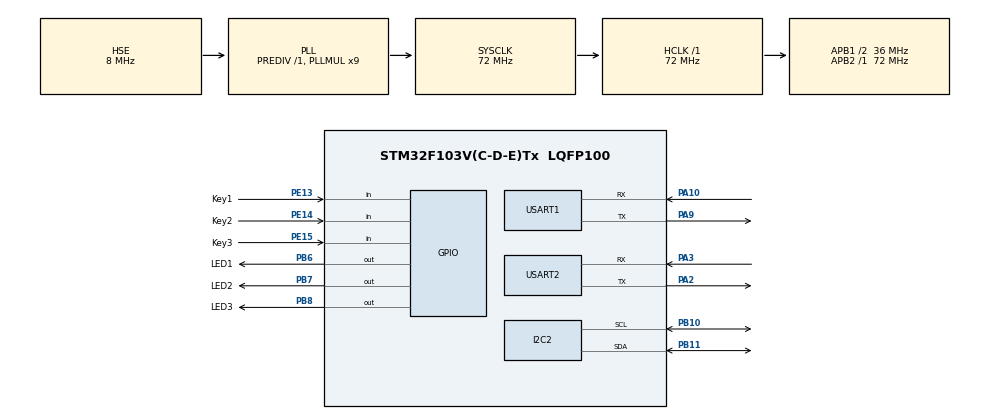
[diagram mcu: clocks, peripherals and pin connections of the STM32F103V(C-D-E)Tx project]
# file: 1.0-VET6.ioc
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Dma.I2C2_TX.0.Direction=DMA_MEMORY_TO_PERIPH
Dma.I2C2_TX.0.Instance=DMA1_Channel4
Dma.I2C2_TX.0.MemDataAlignment=DMA_MDATAALIGN_BYTE
Dma.I2C2_TX.0.MemInc=DMA_MINC_ENABLE
Dma.I2C2_TX.0.Mode=DMA_NORMAL
Dma.I2C2_TX.0.PeriphDataAlignment=DMA_PDATAALIGN_BYTE
Dma.I2C2_TX.0.PeriphInc=DMA_PINC_DISABLE
Dma.I2C2_TX.0.Priority=DMA_PRIORITY_MEDIUM
Dma.Request0=I2C2_TX
Dma.Request1=USART1_RX
Dma.Request2=USART2_RX
Dma.USART1_RX.1.Direction=DMA_PERIPH_TO_MEMORY
Dma.USART1_RX.1.Instance=DMA1_Channel5
Dma.USART1_RX.1.MemDataAlignment=DMA_MDATAALIGN_BYTE
Dma.USART1_RX.1.MemInc=DMA_MINC_ENABLE
Dma.USART1_RX.1.Mode=DMA_NORMAL
Dma.USART1_RX.1.PeriphDataAlignment=DMA_PDATAALIGN_BYTE
Dma.USART1_RX.1.PeriphInc=DMA_PINC_DISABLE
Dma.USART1_RX.1.Priority=DMA_PRIORITY_MEDIUM
Dma.USART2_RX.2.Direction=DMA_PERIPH_TO_MEMORY
Dma.USART2_RX.2.Instance=DMA1_Channel6
Dma.USART2_RX.2.MemDataAlignment=DMA_MDATAALIGN_BYTE
Dma.USART2_RX.2.MemInc=DMA_MINC_ENABLE
Dma.USART2_RX.2.Mode=DMA_NORMAL
Dma.USART2_RX.2.PeriphDataAlignment=DMA_PDATAALIGN_BYTE
Dma.USART2_RX.2.PeriphInc=DMA_PINC_DISABLE
Dma.USART2_RX.2.Priority=DMA_PRIORITY_MEDIUM
I2C2.DutyCycle=I2C_DUTYCYCLE_2
I2C2.I2C_Mode=I2C_Fast
Mcu.Family=STM32F1
Mcu.Name=STM32F103V(C-D-E)Tx
Mcu.Package=LQFP100
NVIC.DMA1_Channel4_IRQn=true\:0\:0\:true\:false\:true\:false\:true\:true
NVIC.DMA1_Channel5_IRQn=true\:0\:0\:false\:false\:true\:false\:true\:true
NVIC.DMA1_Channel6_IRQn=true\:0\:0\:false\:false\:true\:false\:true\:true
NVIC.I2C2_ER_IRQn=true\:0\:0\:false\:false\:true\:true\:true\:true
NVIC.I2C2_EV_IRQn=true\:0\:0\:false\:false\:true\:true\:true\:true
NVIC.PriorityGroup=NVIC_PRIORITYGROUP_4
NVIC.TIM2_IRQn=true\:1\:0\:true\:false\:true\:true\:true\:true
NVIC.USART1_IRQn=true\:0\:0\:false\:false\:true\:true\:true\:true
NVIC.USART2_IRQn=true\:0\:0\:false\:false\:true\:true\:true\:true
OSC_IN.Mode=HSE-External-Oscillator
OSC_IN.Signal=RCC_OSC_IN
OSC_OUT.Mode=HSE-External-Oscillator
OSC_OUT.Signal=RCC_OSC_OUT
PA10.Mode=Asynchronous
PA10.Signal=USART1_RX
PA13.Mode=Serial_Wire
PA13.Signal=SYS_JTMS-SWDIO
PA14.Mode=Serial_Wire
PA14.Signal=SYS_JTCK-SWCLK
PA2.Mode=Asynchronous
PA2.Signal=USART2_TX
PA3.Mode=Asynchronous
PA3.Signal=USART2_RX
PA9.Mode=Asynchronous
PA9.Signal=USART1_TX
PB10.Mode=I2C
PB10.Signal=I2C2_SCL
PB11.Mode=I2C
PB11.Signal=I2C2_SDA
PB6.GPIO_Label=LED1
PB6.GPIO_Speed=GPIO_SPEED_FREQ_HIGH
PB6.Signal=GPIO_Output
PB7.GPIO_Label=LED2
PB7.GPIO_Speed=GPIO_SPEED_FREQ_HIGH
PB7.Signal=GPIO_Output
PB8.GPIO_Label=LED3
PB8.GPIO_Speed=GPIO_SPEED_FREQ_HIGH
PB8.Signal=GPIO_Output
PC14-OSC32_IN.Mode=LSE-External-Oscillator
PC14-OSC32_IN.Signal=RCC_OSC32_IN
PC15-OSC32_OUT.Mode=LSE-External-Oscillator
PC15-OSC32_OUT.Signal=RCC_OSC32_OUT
PE13.GPIO_Label=Key1
PE13.GPIO_PuPd=GPIO_PULLUP
PE13.Signal=GPIO_Input
PE14.GPIO_Label=Key2
PE14.GPIO_PuPd=GPIO_PULLUP
PE14.Signal=GPIO_Input
PE15.GPIO_Label=Key3
PE15.GPIO_PuPd=GPIO_PULLUP
PE15.Signal=GPIO_Input
ProjectManager.HeapSize=0x200
ProjectManager.StackSize=0x400
ProjectManager.TargetToolchain=MDK-ARM V5.32
RCC.AHBFreq_Value=72000000
RCC.APB1CLKDivider=RCC_HCLK_DIV2
RCC.APB1Freq_Value=36000000
RCC.APB1TimFreq_Value=72000000
RCC.APB2Freq_Value=72000000
RCC.APB2TimFreq_Value=72000000
RCC.HCLKFreq_Value=72000000
RCC.PLLMUL=RCC_PLL_MUL9
RCC.PLLSourceVirtual=RCC_PLLSOURCE_HSE
RCC.SYSCLKFreq_VALUE=72000000
RCC.SYSCLKSource=RCC_SYSCLKSOURCE_PLLCLK
RCC.USBFreq_Value=72000000
TIM2.Period=1000-1
TIM2.Prescaler=72-1
USART1.VirtualMode=VM_ASYNC
USART2.VirtualMode=VM_ASYNC
VP_TIM2_VS_ClockSourceINT.Mode=Internal
board=custom

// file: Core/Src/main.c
/* USER CODE BEGIN Header */
/**
 ******************************************************************************
 * @file           : main.c
 * @brief          : Main program body
 ******************************************************************************
 * @attention
 *
 * Copyright (c) 2026 STMicroelectronics.
 * All rights reserved.
 *
 * This software is licensed under terms that can be found in the LICENSE file
 * in the root directory of this software component.
 * If no LICENSE file comes with this software, it is provided AS-IS.
 *
 ******************************************************************************
 */
/* USER CODE END Header */
#include "main.h"
#include "dma.h"
#include "i2c.h"
#include "tim.h"
#include "usart.h"
#include "gpio.h"

/* USER CODE BEGIN Includes */
#include <string.h>
#include "OLED.h"
#include "math.h"
#include "KEY.h"
#include "my_uart.h"
/* USER CODE END Includes */

void SystemClock_Config(void);

int main(void)
{

  /* MCU Configuration--------------------------------------------------------*/

  /* Reset of all peripherals, Initializes the Flash interface and the Systick. */
  HAL_Init();

  /* Configure the system clock */
  SystemClock_Config();

  /* Initialize all configured peripherals */
  MX_GPIO_Init();
  MX_DMA_Init();
  MX_USART1_UART_Init();
  MX_I2C2_Init();
  MX_TIM2_Init();
  MX_USART2_UART_Init();
  /* USER CODE BEGIN 2 */
  USART_Data *my_uart1 = (USART_Data *)malloc(sizeof(USART_Data)); // 杜绝野指针
  memset(my_uart1, 0, sizeof(USART_Data));
  HAL_TIM_Base_Start_IT(&htim2);
  USART_DataTypeInit(my_uart1, &huart1, 128, DMA_MODE, NULL);
  OLED_Init();
  OLED_Clear();
  OLED_Update();
  /* USER CODE END 2 */

  /* Infinite loop */
  while (1)
  {

    /* USER CODE BEGIN 3 */
    if (USART_DataIsReceived(my_uart1))
    {
      uint8_t *data = uartDataProcessLock(my_uart1);
      uint16_t size = USART_DataGetReceivedLen(my_uart1);

      data[size] = '\0';
      OLED_Clear();
      OLED_ShowString(8, 8, (char *)data, 6);
      OLED_Update();

      uartDataProcessUnlock(my_uart1);
    }
  }
  /* USER CODE END 3 */
}

void SystemClock_Config(void)
{
  RCC_OscInitTypeDef RCC_OscInitStruct = {0};
  RCC_ClkInitTypeDef RCC_ClkInitStruct = {0};

  /** Initializes the RCC Oscillators according to the specified parameters
   * in the RCC_OscInitTypeDef structure.
   */
  RCC_OscInitStruct.OscillatorType = RCC_OSCILLATORTYPE_HSE;
  RCC_OscInitStruct.HSEState = RCC_HSE_ON;
  RCC_OscInitStruct.HSEPredivValue = RCC_HSE_PREDIV_DIV1;
  RCC_OscInitStruct.HSIState = RCC_HSI_ON;
  RCC_OscInitStruct.PLL.PLLState = RCC_PLL_ON;
  RCC_OscInitStruct.PLL.PLLSource = RCC_PLLSOURCE_HSE;
  RCC_OscInitStruct.PLL.PLLMUL = RCC_PLL_MUL9;
  if (HAL_RCC_OscConfig(&RCC_OscInitStruct) != HAL_OK)
  {
    Error_Handler();
  }

  /** Initializes the CPU, AHB and APB buses clocks
   */
  RCC_ClkInitStruct.ClockType = RCC_CLOCKTYPE_HCLK | RCC_CLOCKTYPE_SYSCLK | RCC_CLOCKTYPE_PCLK1 | RCC_CLOCKTYPE_PCLK2;
  RCC_ClkInitStruct.SYSCLKSource = RCC_SYSCLKSOURCE_PLLCLK;
  RCC_ClkInitStruct.AHBCLKDivider = RCC_SYSCLK_DIV1;
  RCC_ClkInitStruct.APB1CLKDivider = RCC_HCLK_DIV2;
  RCC_ClkInitStruct.APB2CLKDivider = RCC_HCLK_DIV1;

  if (HAL_RCC_ClockConfig(&RCC_ClkInitStruct, FLASH_LATENCY_2) != HAL_OK)
  {
    Error_Handler();
  }
}

/* USER CODE BEGIN 4 */
void HAL_TIM_PeriodElapsedCallback(TIM_HandleTypeDef *htim)
{
  if (htim->Instance == TIM2)
  {
    KEY_Tick();
  }
}

/* USER CODE END 4 */

void Error_Handler(void)
{
  __disable_irq();
  while (1)
  {
  }
}
